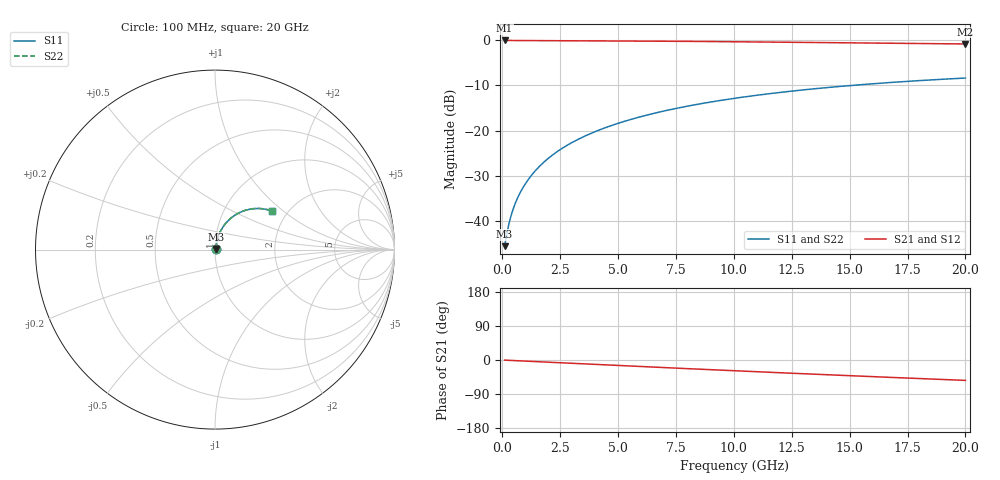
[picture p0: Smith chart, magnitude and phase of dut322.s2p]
! Touchstone file exported from HFSS 2026.1.0
!  File:  C:/ffzhzh/LocalFiles/Ansys_Project_Files/temp_train_BSMRDL_322_1783010857_53980.aedt
!  Generated:  12:49:13 AM Jul  3, 2026
!  Design:  BSMRDL
!  Project:  temp_train_BSMRDL_322_1783010857_53980
! Variables:
!  h_bsmrdl = 2.72um
!  h_ox = 20um
!  h_rdl = 5um
!  h_sub = 80um
!  h_tmrdl = 5um
!  h_tsv = 80um
!  h_via = 3um
!  l_bsmrdl = 855.95um
!  l_sub = 1255.95um
!  l_tmrdl = 200um
!  m_sub = 200um
!  pitch = 47.07um
!  r_tsv = 6um
!  s_tmrdl = 10um
!  w_bsmrdl = 26.93um
!  w_sub = 500um
!  w_tmrdl = 12um
!  x_tsv_center1 = 206um
!  x_tsv_center2 = 1088.88um
!  x_tsv_center3 = 1300.88um
!  x_tsv_center4 = 2183.76um
!  x_tsv_center5 = 2395.76um
!  x_tsv_center6 = 3278.64um
# GHz S MA R 50.000000
! Terminal data exported
! Port[1] = BSM_RDL1_1_T1
! Port[2] = BSM_RDL1_1_T2
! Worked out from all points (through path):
!   200 points, 100 MHz to 20 GHz, reference 50 ohm
!   highest |S21| = -0.04 dB at 100 MHz (marker M1); lowest = -0.8 dB at 20 GHz (marker M2)
!   group delay of S21, straight-line fit = 7.48 ps
!   lowest |S11| = -45.6 dB at 100 MHz (marker M3), VSWR 1.01, Z = 50.4 + j0.289 ohm
!   |S11| at or under -10 dB: start of sweep to 15.06 GHz
!   |S22| runs from -45.6 to -8.4 dB; largest |S21 - S12| = 3.6e-15
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0.1  0.005275 32.8  0.9956 -0.3  0.9956 -0.3  0.005275 32.8
! Gamma 0 0 0 0
! Port Impedance 50 0 50 0
0.2  0.007327 49.9  0.9953 -0.6  0.9953 -0.6  0.007327 49.9
0.3  0.009644 58.2  0.995 -0.9  0.995 -0.9  0.009644 58.2
0.4  0.01198 63.0  0.9947 -1.2  0.9947 -1.2  0.01198 63.0
0.5  0.01431 66.2  0.9945 -1.5  0.9945 -1.5  0.01431 66.2
0.6  0.01662 68.5  0.9943 -1.8  0.9943 -1.8  0.01662 68.5
0.8  0.02126 71.7  0.994 -2.4  0.994 -2.4  0.02126 71.7
1.1  0.0283 74.4  0.9936 -3.2  0.9936 -3.2  0.02829 74.4
1.3  0.03303 75.5  0.9933 -3.8  0.9933 -3.8  0.03303 75.5
1.6  0.04018 76.4  0.993 -4.7  0.993 -4.7  0.04018 76.4
2.1  0.05214 76.8  0.9922 -6.1  0.9922 -6.1  0.05214 76.8
2.7  0.0665 76.4  0.9912 -7.8  0.9912 -7.8  0.0665 76.4
3.5  0.08554 75.2  0.9894 -10.1  0.9894 -10.1  0.08553 75.2
4.2  0.102 73.8  0.9875 -12.1  0.9875 -12.1  0.102 73.8
5  0.1206 71.9  0.9851 -14.4  0.9851 -14.4  0.1206 72.0
5.9  0.141 69.7  0.9819 -17.0  0.9819 -17.0  0.141 69.8
6.8  0.161 67.4  0.9784 -19.5  0.9784 -19.5  0.161 67.5
8.3  0.1931 63.5  0.9718 -23.7  0.9718 -23.7  0.1931 63.6
10.1  0.2294 58.9  0.963 -28.6  0.963 -28.6  0.2294 58.9
13.4  0.2894 50.4  0.9454 -37.3  0.9454 -37.3  0.2894 50.5
16.7  0.3403 42.2  0.9275 -45.7  0.9275 -45.7  0.3403 42.3
20  0.3822 34.3  0.9107 -53.8  0.9107 -53.8  0.3822 34.4
